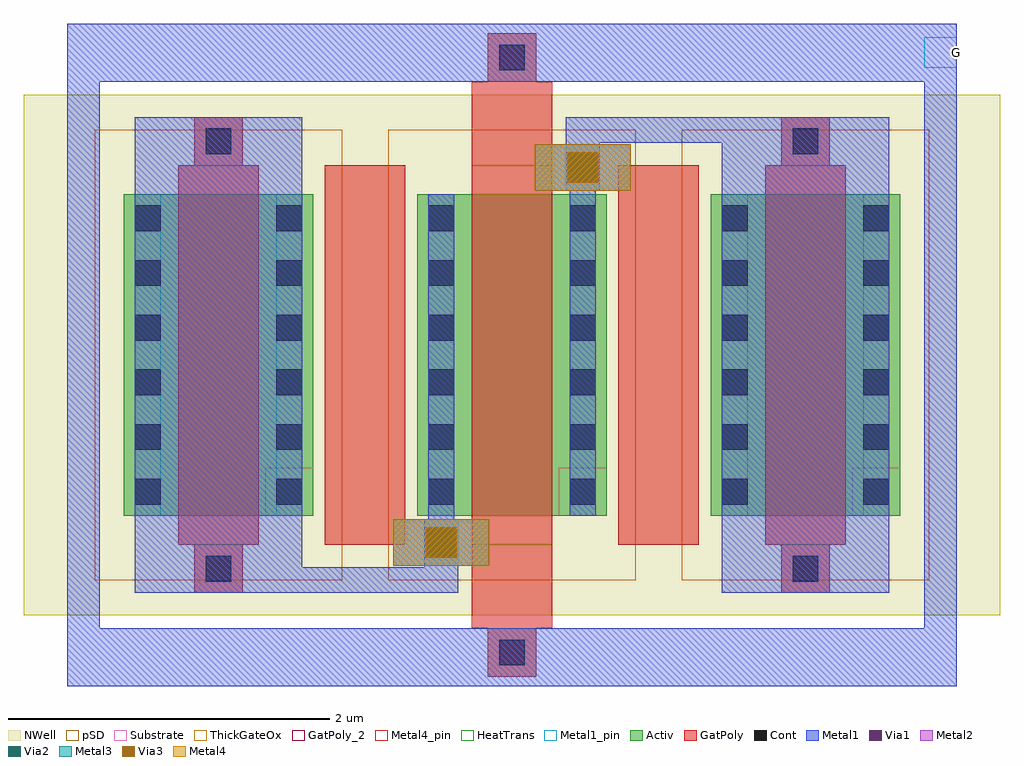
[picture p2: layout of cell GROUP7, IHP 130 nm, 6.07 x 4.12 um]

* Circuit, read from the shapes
.subckt GROUP7 G
XM1 pmosHV$1_priv1_1/D pmosHV$1_priv1_1/D pmosHV$1_priv1_1/D n1 sg13_hv_pmos w=2u l=0.5u
XM2 pmosHV$1_priv1_1/S G pmosHV$1_priv1_1/D n1 sg13_hv_pmos w=2u l=0.5u
XM3 pmosHV$1_priv1_1/S pmosHV$1_priv1_1/S pmosHV$1_priv1_1/S n1 sg13_hv_pmos w=2u l=0.5u
.ends

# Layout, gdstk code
import gdstk
lib = gdstk.Library(unit=1e-6, precision=1e-09)
def R(c, l, rs):  # rectangles x0, y0, x1, y1
    for r in rs: c.add(gdstk.rectangle(r[:2], r[2:], *l))
def A(c, l, x, y, w, h, nx, ny, dx, dy):  # array of equal rectangles
    R(c, l, [(x+i*dx, y+j*dy, x+i*dx+w, y+j*dy+h) for i in range(nx) for j in range(ny)])
Activ = (1, 0)
GatPoly = (5, 0)
GatPoly_2 = (5, 2)
Cont = (6, 0)
Metal1 = (8, 0)
Metal1_pin = (8, 2)
Metal2 = (10, 0)
pSD = (14, 0)
Via1 = (19, 0)
Via2 = (29, 0)
Metal3 = (30, 0)
NWell = (31, 0)
Substrate = (40, 0)
ThickGateOx = (44, 0)
Via3 = (49, 0)
Metal4 = (50, 0)
Metal4_pin = (50, 2)
HeatTrans = (51, 0)

pmoshv_1_priv2 = lib.new_cell('pmosHV$1_priv2')
R(pmoshv_1_priv2, Activ, [(0,0,0.3,0.3), (0,0,1.18,2), (0.88,0,1.18,0.3)])
R(pmoshv_1_priv2, GatPoly, [(0.44,-0.48,0.74,-0.18), (0.34,-0.18,0.84,2.18), (0.44,2.18,0.74,2.48)])
R(pmoshv_1_priv2, GatPoly_2, [(0.34,-0.18,0.84,2.18)])
A(pmoshv_1_priv2, Cont, 0.07, 0.07, 0.16, 0.16, 1, 6, 0, 0.34)
A(pmoshv_1_priv2, Cont, 0.95, 0.07, 0.16, 0.16, 1, 6, 0, 0.34)
R(pmoshv_1_priv2, Cont, [(0.51,-0.41,0.67,-0.25), (0.51,2.25,0.67,2.41)])
R(pmoshv_1_priv2, Metal1, [(0.07,-0.48,1.11,2.48), (0.07,0,0.23,2), (0.95,0,1.11,2)])
R(pmoshv_1_priv2, Metal1_pin, [(0.07,0,0.23,2), (0.95,0,1.11,2)])
R(pmoshv_1_priv2, pSD, [(-0.18,-0.4,1.36,2.4)])
R(pmoshv_1_priv2, NWell, [(-0.62,-0.62,1.8,2.62)])
R(pmoshv_1_priv2, Substrate, [(0.88,0,1.18,0.3)])
R(pmoshv_1_priv2, ThickGateOx, [(-0.62,-0.62,1.8,2.62)])
R(pmoshv_1_priv2, HeatTrans, [(0.34,-0.18,0.84,2.18)])
pmoshv_1_priv2.add(gdstk.Label('pmosHV', (0.59,1), layer=63, texttype=0))
pmoshv_1_priv2.add(gdstk.Label('pmos', (0.59,1), layer=51, texttype=0))

pmoshv_1_priv1 = lib.new_cell('pmosHV$1_priv1')
R(pmoshv_1_priv1, Activ, [(0,0,0.3,0.3), (0,0,1.18,2), (0.88,0,1.18,0.3)])
R(pmoshv_1_priv1, GatPoly, [(0.44,-1,0.74,-0.7), (0.34,-0.7,0.84,-0.18), (0.34,-0.18,0.84,2.18), (0.34,2.18,0.84,2.7), (0.44,2.7,0.74,3)])
R(pmoshv_1_priv1, GatPoly_2, [(0.34,-0.18,0.84,2.18)])
A(pmoshv_1_priv1, Cont, 0.07, 0.07, 0.16, 0.16, 1, 6, 0, 0.34)
A(pmoshv_1_priv1, Cont, 0.95, 0.07, 0.16, 0.16, 1, 6, 0, 0.34)
R(pmoshv_1_priv1, Cont, [(0.51,-0.93,0.67,-0.77), (0.51,2.77,0.67,2.93)])
R(pmoshv_1_priv1, Metal1, [(0.455,-1.06,0.725,-0.7), (0.045,-0.31,0.255,-0.02), (0.07,-0.035,0.23,0.015), (0.07,0,0.23,2), (0.95,0,1.11,2), (0.95,1.985,1.11,2.035), (0.925,2.02,1.135,2.31), (0.455,2.7,0.725,3.06)])
R(pmoshv_1_priv1, Metal1_pin, [(0.07,0,0.23,2), (0.95,0,1.11,2)])
R(pmoshv_1_priv1, Metal2, [(-0.15,-0.31,0.45,-0.02), (0.05,-0.31,0.25,-0.02), (0.73,2.02,1.33,2.31), (0.93,2.02,1.13,2.31)])
R(pmoshv_1_priv1, pSD, [(-0.18,-0.4,1.36,2.4)])
R(pmoshv_1_priv1, Via1, [(0.055,-0.26,0.245,-0.07), (0.935,2.07,1.125,2.26)])
R(pmoshv_1_priv1, Via2, [(0.055,-0.26,0.245,-0.07), (0.935,2.07,1.125,2.26)])
R(pmoshv_1_priv1, Metal3, [(-0.15,-0.31,0.45,-0.02), (0.05,-0.31,0.25,-0.02), (0.73,2.02,1.33,2.31), (0.93,2.02,1.13,2.31)])
R(pmoshv_1_priv1, NWell, [(-0.62,-0.62,1.8,2.62)])
R(pmoshv_1_priv1, Substrate, [(0.88,0,1.18,0.3)])
R(pmoshv_1_priv1, ThickGateOx, [(-0.62,-0.62,1.8,2.62)])
R(pmoshv_1_priv1, Via3, [(0.055,-0.26,0.245,-0.07), (0.935,2.07,1.125,2.26)])
R(pmoshv_1_priv1, Metal4, [(-0.15,-0.31,0.45,-0.02), (0.05,-0.31,0.25,-0.02), (0.73,2.02,1.33,2.31), (0.93,2.02,1.13,2.31)])
R(pmoshv_1_priv1, Metal4_pin, [(0.055,-0.26,0.245,-0.07), (0.935,2.07,1.125,2.26)])
R(pmoshv_1_priv1, HeatTrans, [(0.34,-0.18,0.84,2.18)])
pmoshv_1_priv1.add(gdstk.Label('pmosHV', (0.59,1), layer=63, texttype=0))
pmoshv_1_priv1.add(gdstk.Label('pmos', (0.59,1), layer=51, texttype=0))
pmoshv_1_priv1.add(gdstk.Label('S', (1.03,2.165), layer=50, texttype=0))
pmoshv_1_priv1.add(gdstk.Label('D', (0.15,-0.165), layer=50, texttype=0))

pmoshv_1_priv3 = lib.new_cell('pmosHV$1_priv3')
R(pmoshv_1_priv3, Activ, [(0,0,0.3,0.3), (0,0,1.18,2), (0.88,0,1.18,0.3)])
R(pmoshv_1_priv3, GatPoly, [(0.44,-0.48,0.74,-0.18), (0.34,-0.18,0.84,2.18), (0.44,2.18,0.74,2.48)])
R(pmoshv_1_priv3, GatPoly_2, [(0.34,-0.18,0.84,2.18)])
A(pmoshv_1_priv3, Cont, 0.07, 0.07, 0.16, 0.16, 1, 6, 0, 0.34)
A(pmoshv_1_priv3, Cont, 0.95, 0.07, 0.16, 0.16, 1, 6, 0, 0.34)
R(pmoshv_1_priv3, Cont, [(0.51,-0.41,0.67,-0.25), (0.51,2.25,0.67,2.41)])
R(pmoshv_1_priv3, Metal1, [(0.07,-0.48,1.11,2.48), (0.07,0,0.23,2), (0.95,0,1.11,2)])
R(pmoshv_1_priv3, Metal1_pin, [(0.07,0,0.23,2), (0.95,0,1.11,2)])
R(pmoshv_1_priv3, pSD, [(-0.18,-0.4,1.36,2.4)])
R(pmoshv_1_priv3, NWell, [(-0.62,-0.62,1.8,2.62)])
R(pmoshv_1_priv3, Substrate, [(0.88,0,1.18,0.3)])
R(pmoshv_1_priv3, ThickGateOx, [(-0.62,-0.62,1.8,2.62)])
R(pmoshv_1_priv3, HeatTrans, [(0.34,-0.18,0.84,2.18)])
pmoshv_1_priv3.add(gdstk.Label('pmosHV', (0.59,1), layer=63, texttype=0))
pmoshv_1_priv3.add(gdstk.Label('pmos', (0.59,1), layer=51, texttype=0))

group7 = lib.new_cell('GROUP7')
R(group7, GatPoly, [(294.925,-82.52,295.425,-80.16), (296.75,-82.52,297.25,-80.16)])
R(group7, Metal1, [(293.325,-83.4,298.855,-83.04), (293.325,-83.4,293.525,-79.28), (298.655,-83.4,298.855,-79.28), (294.785,-82.82,295.755,-82.66), (295.545,-82.66,295.755,-82.36), (296.425,-80.32,296.635,-80.02), (296.425,-80.02,297.395,-79.86), (293.325,-79.64,298.855,-79.28)])
R(group7, Metal1_pin, [(298.655,-79.555,298.855,-79.365)])
group7.add(gdstk.Reference(pmoshv_1_priv2, (297.325,-82.34)))
group7.add(gdstk.Reference(pmoshv_1_priv1, (295.5,-82.34)))
group7.add(gdstk.Reference(pmoshv_1_priv3, (293.675,-82.34)))
group7.add(gdstk.Label('G', (298.855,-79.46), layer=8, texttype=0))
group7.add(gdstk.Label('XM19', (295.49,-78.98), layer=1000, texttype=0))
group7.add(gdstk.Label('XM6', (296.09,-78.98), layer=1000, texttype=0))
group7.add(gdstk.Label('XM15', (296.69,-78.98), layer=1000, texttype=0))

lib.write_gds('GROUP7.gds')
